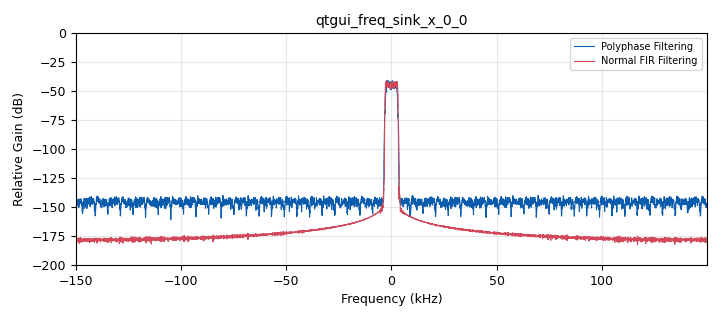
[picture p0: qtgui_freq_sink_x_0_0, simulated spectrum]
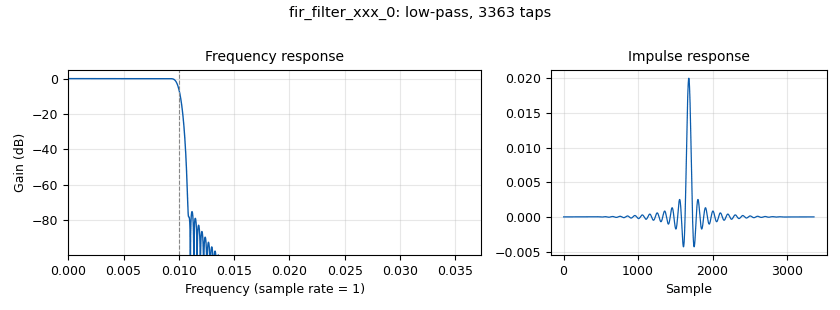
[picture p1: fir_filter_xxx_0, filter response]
<?xml version='1.0' encoding='utf-8'?>
<?grc format='1' created='3.7.10'?>
<flow_graph>
<block>
<key>options</key>
<param><key>id</key><value>polyphase_filter</value></param>
<param><key>generate_options</key><value>qt_gui</value></param>
</block>
<block>
<key>variable</key>
<param><key>id</key><value>K</value></param>
<param><key>value</key><value>50</value></param>
</block>
<block>
<key>variable</key>
<param><key>id</key><value>samp_rate</value></param>
<param><key>value</key><value>300e3</value></param>
</block>
<block>
<key>analog_noise_source_x</key>
<param><key>id</key><value>analog_noise_source_x_0</value></param>
<param><key>amp</key><value>1</value></param>
<param><key>noise_type</key><value>analog.GR_GAUSSIAN</value></param>
<param><key>type</key><value>complex</value></param>
<param><key>seed</key><value>0</value></param>
</block>
<block>
<key>blocks_throttle</key>
<param><key>id</key><value>blocks_throttle_0</value></param>
<param><key>samples_per_second</key><value>samp_rate</value></param>
<param><key>type</key><value>complex</value></param>
</block>
<block>
<key>fir_filter_xxx</key>
<param><key>id</key><value>fir_filter_xxx_0</value></param>
<param><key>decim</key><value>1</value></param>
<param><key>taps</key><value>firdes.low_pass(1,1.0,1.0/(2*K),1.0/(20*K),firdes.WIN_BLACKMAN)</value></param>
<param><key>type</key><value>ccc</value></param>
</block>
<block>
<key>pfb_decimator_ccf</key>
<param><key>id</key><value>pfb_decimator_ccf_0</value></param>
<param><key>decim</key><value>K</value></param>
<param><key>channel</key><value>0</value></param>
<param><key>atten</key><value>100</value></param>
</block>
<block>
<key>pfb_interpolator_ccf</key>
<param><key>id</key><value>pfb_interpolator_ccf_0</value></param>
<param><key>atten</key><value>100</value></param>
<param><key>interp</key><value>K</value></param>
</block>
<block>
<key>qtgui_freq_sink_x</key>
<param><key>id</key><value>qtgui_freq_sink_x_0_0</value></param>
<param><key>average</key><value>0.2</value></param>
<param><key>bw</key><value>samp_rate</value></param>
<param><key>fc</key><value>0</value></param>
<param><key>fftsize</key><value>4096</value></param>
<param><key>grid</key><value>True</value></param>
<param><key>label1</key><value>Polyphase Filtering</value></param>
<param><key>label2</key><value>Normal FIR Filtering</value></param>
<param><key>nconnections</key><value>2</value></param>
<param><key>showports</key><value>True</value></param>
<param><key>type</key><value>complex</value></param>
<param><key>wintype</key><value>firdes.WIN_BLACKMAN_hARRIS</value></param>
<param><key>ymax</key><value>0</value></param>
<param><key>ymin</key><value>-200</value></param>
</block>
<connection><source_block_id>analog_noise_source_x_0</source_block_id><sink_block_id>blocks_throttle_0</sink_block_id><source_key>0</source_key><sink_key>0</sink_key></connection>
<connection><source_block_id>blocks_throttle_0</source_block_id><sink_block_id>fir_filter_xxx_0</sink_block_id><source_key>0</source_key><sink_key>0</sink_key></connection>
<connection><source_block_id>blocks_throttle_0</source_block_id><sink_block_id>pfb_decimator_ccf_0</sink_block_id><source_key>0</source_key><sink_key>0</sink_key></connection>
<connection><source_block_id>fir_filter_xxx_0</source_block_id><sink_block_id>qtgui_freq_sink_x_0_0</sink_block_id><source_key>0</source_key><sink_key>1</sink_key></connection>
<connection><source_block_id>pfb_decimator_ccf_0</source_block_id><sink_block_id>pfb_interpolator_ccf_0</sink_block_id><source_key>0</source_key><sink_key>0</sink_key></connection>
<connection><source_block_id>pfb_interpolator_ccf_0</source_block_id><sink_block_id>qtgui_freq_sink_x_0_0</sink_block_id><source_key>0</source_key><sink_key>0</sink_key></connection>
</flow_graph>
